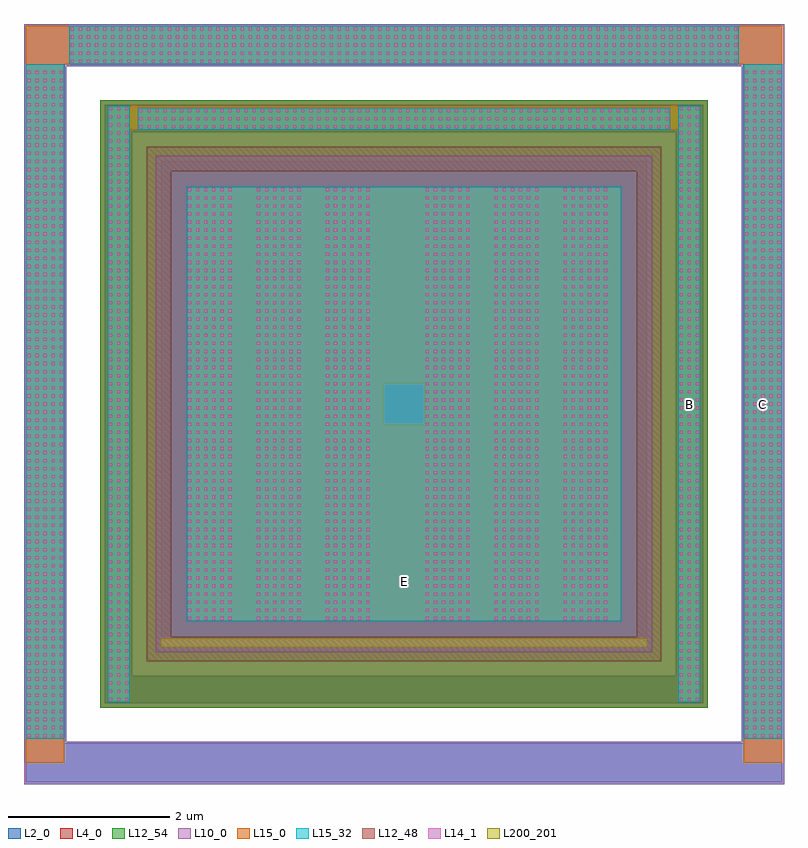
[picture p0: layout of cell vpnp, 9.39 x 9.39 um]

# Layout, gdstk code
import gdstk
lib = gdstk.Library(unit=1e-6, precision=1e-09)
def R(c, l, rs):  # rectangles x0, y0, x1, y1
    for r in rs: c.add(gdstk.rectangle(r[:2], r[2:], *l))
def A(c, l, x, y, w, h, nx, ny, dx, dy):  # array of equal rectangles
    R(c, l, [(x+i*dx, y+j*dy, x+i*dx+w, y+j*dy+h) for i in range(nx) for j in range(ny)])
L2_0 = (2, 0)
L4_0 = (4, 0)
L10_0 = (10, 0)
L12_48 = (12, 48)
L12_54 = (12, 54)
L14_1 = (14, 1)
L15_0 = (15, 0)
L15_32 = (15, 32)
L200_201 = (200, 201)

vpnp = lib.new_cell('vpnp')
R(vpnp, L2_0, [(-11.179,-3.209,-1.827,-2.729), (-11.179,-2.729,-10.699,5.663), (-2.307,-2.729,-1.827,5.663), (-10.199,-2.229,-2.807,-1.889), (-10.199,-1.889,-9.859,4.823), (-3.147,-1.889,-2.807,4.823), (-9.503,-1.533,-3.503,4.467), (-10.199,4.823,-2.807,5.163), (-11.179,5.663,-1.827,6.143)])
R(vpnp, L4_0, [(-10.255,-2.285,-2.751,5.219)])
R(vpnp, L10_0, [(-11.2,-3.23,-1.806,-2.708), (-11.2,-2.708,-10.678,5.642), (-2.328,-2.708,-1.806,5.642), (-9.573,-1.603,-3.433,4.537), (-11.2,5.642,-1.806,6.164)])
R(vpnp, L12_48, [(-9.684,-1.714,-3.322,-1.408), (-9.684,-1.408,-9.378,4.342), (-3.628,-1.408,-3.322,4.342), (-9.684,4.342,-3.322,4.648)])
R(vpnp, L12_54, [(-10.255,-2.285,-2.751,5.219)])
A(vpnp, L14_1, -11.159, -2.653, 0.04, 0.04, 5, 83, 0.1, 0.1)
A(vpnp, L14_1, -2.287, -2.653, 0.04, 0.04, 5, 83, 0.1, 0.1)
A(vpnp, L14_1, -10.149, -2.203, 0.04, 0.04, 3, 74, 0.1, 0.1)
A(vpnp, L14_1, -3.097, -2.203, 0.04, 0.04, 3, 74, 0.1, 0.1)
A(vpnp, L14_1, -9.173, -1.203, 0.04, 0.04, 6, 54, 0.1, 0.1)
A(vpnp, L14_1, -8.321, -1.203, 0.04, 0.04, 6, 54, 0.1, 0.1)
A(vpnp, L14_1, -7.469, -1.203, 0.04, 0.04, 6, 54, 0.1, 0.1)
A(vpnp, L14_1, -6.235, -1.203, 0.04, 0.04, 6, 54, 0.1, 0.1)
A(vpnp, L14_1, -5.383, -1.203, 0.04, 0.04, 6, 54, 0.1, 0.1)
A(vpnp, L14_1, -4.531, -1.203, 0.04, 0.04, 6, 54, 0.1, 0.1)
A(vpnp, L14_1, -9.773, 4.873, 0.04, 0.04, 66, 3, 0.1, 0.1)
A(vpnp, L14_1, -10.623, 5.683, 0.04, 0.04, 83, 5, 0.1, 0.1)
R(vpnp, L15_0, [(-11.177,-2.969,-10.701,6.141), (-2.305,-2.969,-1.829,6.141), (-10.167,-2.221,-9.891,5.155), (-3.115,-2.221,-2.839,5.155), (-9.191,-1.221,-3.815,1.217), (-9.191,1.217,-6.753,1.717), (-6.253,1.217,-3.815,1.717), (-9.191,1.717,-3.815,4.155), (-9.891,4.855,-3.115,5.155), (-10.701,5.665,-2.305,6.141)])
R(vpnp, L15_32, [(-11.177,-2.671,-10.701,5.665), (-2.305,-2.671,-1.829,5.665), (-10.167,-2.221,-9.891,5.155), (-3.115,-2.221,-2.839,5.155), (-9.191,-1.221,-3.815,4.155), (-9.791,4.855,-3.215,5.131), (-10.641,5.665,-2.365,6.141)])
R(vpnp, L200_201, [(-9.503,-1.533,-3.503,-1.433)])
vpnp.add(gdstk.Label('E', (-6.503,-0.721), layer=15, texttype=20))
vpnp.add(gdstk.Label('B', (-2.977,1.467), layer=15, texttype=20))
vpnp.add(gdstk.Label('C', (-2.067,1.467), layer=15, texttype=20))

lib.write_gds('vpnp.gds')
